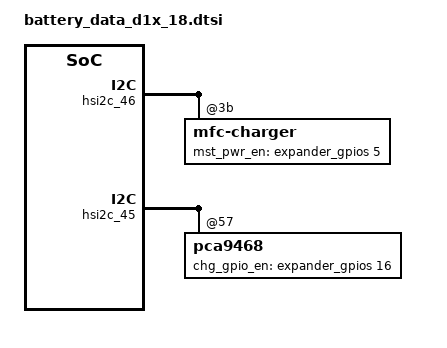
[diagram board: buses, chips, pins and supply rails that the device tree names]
/*
 * SAMSUNG UNIVERSAL9820 board device tree source
 *
 * Copyright (c) 2018 Samsung Electronics Co., Ltd.
 *		http://www.samsung.com
 *
 * This program is free software; you can redistribute it and/or modify
 * it under the terms of the GNU General Public License version 2 as
 * published by the Free Software Foundation.
 */

#include "battery_data_d1x_common.dtsi"

/ {
	fragment@battery {
		target-path = "/";
		__overlay__ {
				battery {
					battery,wpc_en = <&expander_gpios 18 0>;
					battery,mst_pwr_en = <&expander_gpios 5 0>;
				};
			}; /* end of __overlay__ */
	}; /* end of fragment */
};

&hsi2c_46 {
	mfc-charger@3b {
		pinctrl-0 = <&wpc_int &wpc_det>;

		battery,mst_pwr_en = <&expander_gpios 5 0>;
	};
};

&hsi2c_45 {
	pca9468@57 {
		pinctrl-0     = <&dc_irq>;

		pca9468,chg_gpio_en = <&expander_gpios 16 0>;
	};
};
